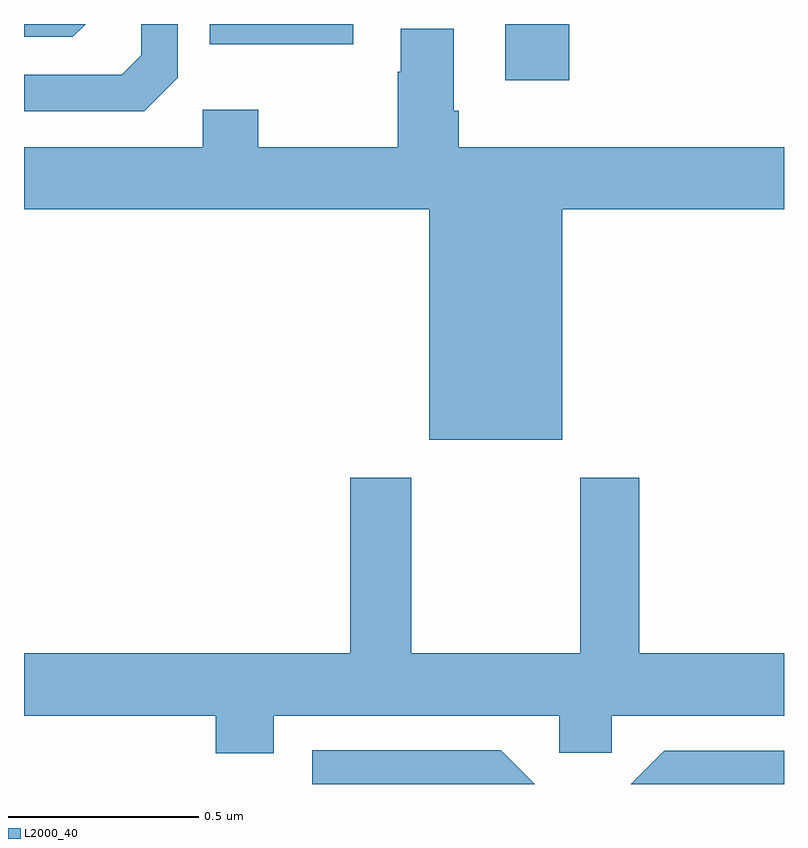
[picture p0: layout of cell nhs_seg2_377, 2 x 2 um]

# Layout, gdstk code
import gdstk
lib = gdstk.Library(unit=1e-6, precision=1e-09)
def R(c, l, rs):  # rectangles x0, y0, x1, y1
    for r in rs: c.add(gdstk.rectangle(r[:2], r[2:], *l))
def P(c, l, *ps):  # polygons
    for p in ps: c.add(gdstk.Polygon(p, *l))
L2000_40 = (2000, 40)

nhs_seg2_377 = lib.new_cell('nhs_seg2_377')
R(nhs_seg2_377, L2000_40, [(116.267,638.652,116.435,638.8), (115.489,638.747,115.867,638.8)])
P(nhs_seg2_377, L2000_40, [(115.162,638.8),(115,638.8),(115,638.766),(115.128,638.766)],
  [(115.404,638.658),(115.404,638.8),(115.308,638.8),(115.308,638.718),(115.257,638.667),(115,638.667),(115,638.571),(115.317,638.571)],
  [(116.416,638.312),(117,638.312),(117,638.476),(116.144,638.476),(116.144,638.572),(116.131,638.572),(116.131,638.788),(115.991,638.788),(115.991,638.675),(115.984,638.675),(115.984,638.476),(115.617,638.476),(115.617,638.575),(115.47,638.575),(115.47,638.476),(115,638.476),(115,638.312),(116.066,638.312),(116.066,637.706),(116.416,637.706)],
  [(115.657,636.98),(116.409,636.98),(116.409,636.882),(116.547,636.882),(116.547,636.98),(117,636.98),(117,637.144),(116.619,637.144),(116.619,637.606),(116.464,637.606),(116.464,637.144),(116.019,637.144),(116.019,637.606),(115.859,637.606),(115.859,637.144),(115,637.144),(115,636.98),(115.505,636.98),(115.505,636.881),(115.657,636.881)],
  [(116.255,636.889),(115.758,636.889),(115.758,636.8),(116.344,636.8)],
  [(117,636.888),(116.685,636.888),(116.597,636.8),(117,636.8)])

lib.write_gds('nhs_seg2_377.gds')
